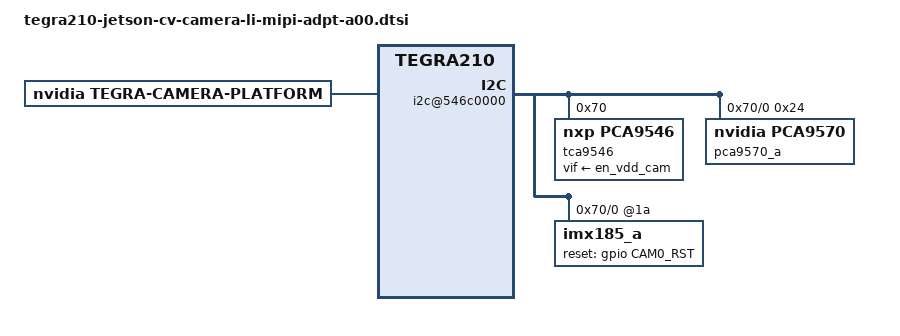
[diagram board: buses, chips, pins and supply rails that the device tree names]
/*
 * Copyright (c) 2015-2016, NVIDIA CORPORATION.  All rights reserved.
 *
 * This program is free software; you can redistribute it and/or modify
 * it under the terms of the GNU General Public License as published by
 * the Free Software Foundation; either version 2 of the License, or
 * (at your option) any later version.
 *
 * This program is distributed in the hope that it will be useful, but WITHOUT
 * ANY WARRANTY; without even the implied warranty of MERCHANTABILITY or
 * FITNESS FOR A PARTICULAR PURPOSE.  See the GNU General Public License for
 * more details.
 *
 * You should have received a copy of the GNU General Public License
 * along with this program.  If not, see <http://www.gnu.org/licenses/>.
 */
#include <tegra210-platforms/tegra210-camera-li-mipi-adpt-a00.dtsi>

#define CAM0_RST	TEGRA_GPIO(S, 4)

/* camera control gpio definitions */

/ {
	tegra-camera-platform {
		compatible = "nvidia, tegra-camera-platform";
		/**
		* Physical settings to calculate max ISO BW
		*
		* num_csi_lanes = <>;
		* Total number of CSI lanes when all cameras are active
		*
		* max_lane_speed = <>;
		* Max lane speed in Kbit/s
		*
		* min_bits_per_pixel = <>;
		* Min bits per pixel
		*
		* vi_peak_byte_per_pixel = <>;
		* Max byte per pixel for the VI ISO case
		*
		* vi_bw_margin_pct = <>;
		* Vi bandwidth margin in percentage
		*
		* isp_peak_byte_per_pixel = <>;
		* Max byte per pixel for the ISP ISO case
		*
		* isp_bw_margin_pct = <>;
		* Isp bandwidth margin in percentage
		*/
		num_csi_lanes = <4>;
		max_lane_speed = <1500000>;
		min_bits_per_pixel = <10>;
		vi_peak_byte_per_pixel = <2>;
		vi_bw_margin_pct = <25>;
		isp_peak_byte_per_pixel = <5>;
		isp_bw_margin_pct = <25>;
	};

	host1x {
		i2c@546c0000 {
			tca9546@70 {
				compatible = "nxp,pca9546";
				reg = <0x70>;
				#address-cells = <1>;
				#size-cells = <0>;
				vif-supply = <&en_vdd_cam>;
				vcc_lp = "vif";
				i2c@0 {
					reg = <0>;
					i2c-mux,deselect-on-exit;
					#address-cells = <1>;
					#size-cells = <0>;
					pca9570_a@24 {
						compatible = "nvidia,pca9570";
						reg = <0x24>;
						channel = "a";
					};
				};
			};
		};
	};
};

/{
	host1x {
		i2c@546c0000 {
			tca9546@70 {
				i2c@0 {
					imx185_a@1a {
						mclk = "cam_mclk1";
						reset-gpios = <&gpio CAM0_RST GPIO_ACTIVE_HIGH>;
					};
				};
			};
		};
	};

	gpio: gpio@6000d000 {
		camera-control {
			gpio-output-low = <
				CAM0_RST
				>;
		};
	};
};
